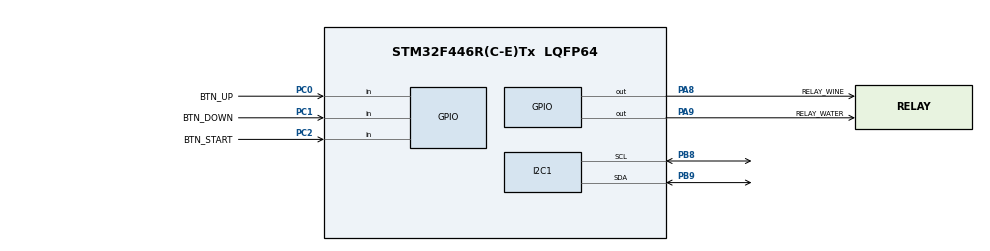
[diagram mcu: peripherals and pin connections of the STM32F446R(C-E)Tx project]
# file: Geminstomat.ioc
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Mcu.Family=STM32F4
Mcu.Name=STM32F446R(C-E)Tx
Mcu.Package=LQFP64
NVIC.PriorityGroup=NVIC_PRIORITYGROUP_4
NVIC.TIM2_IRQn=true\:0\:0\:false\:false\:true\:true\:true\:true
PA13.Mode=Serial_Wire
PA13.Signal=SYS_JTMS-SWDIO
PA14.Mode=Serial_Wire
PA14.Signal=SYS_JTCK-SWCLK
PA8.GPIO_Label=RELAY_WINE
PA8.Signal=GPIO_Output
PA9.GPIO_Label=RELAY_WATER
PA9.Signal=GPIO_Output
PB8.Mode=I2C
PB8.Signal=I2C1_SCL
PB9.Mode=I2C
PB9.Signal=I2C1_SDA
PC0.GPIO_Label=BTN_UP
PC0.GPIO_PuPd=GPIO_PULLUP
PC0.Signal=GPIO_Input
PC1.GPIO_Label=BTN_DOWN
PC1.GPIO_PuPd=GPIO_PULLUP
PC1.Signal=GPIO_Input
PC2.GPIO_Label=BTN_START
PC2.GPIO_PuPd=GPIO_PULLUP
PC2.Signal=GPIO_Input
PH0-OSC_IN.Mode=HSE-External-Oscillator
PH0-OSC_IN.Signal=RCC_OSC_IN
PH1-OSC_OUT.Mode=HSE-External-Oscillator
PH1-OSC_OUT.Signal=RCC_OSC_OUT
ProjectManager.HeapSize=0x200
ProjectManager.StackSize=0x400
ProjectManager.TargetToolchain=STM32CubeIDE
RCC.CortexFreq_Value=16000000
RCC.USBFreq_Value=96000000
RCC.VCOOutputFreq_Value=192000000
TIM2.AutoReloadPreload=TIM_AUTORELOAD_PRELOAD_ENABLE
TIM2.Period=99
TIM2.Prescaler=1599
VP_TIM2_VS_ClockSourceINT.Mode=Internal
board=custom

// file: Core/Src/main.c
/* USER CODE BEGIN Header */
/**
  ******************************************************************************
  * @file           : main.c
  * @brief          : Main program body
  ******************************************************************************
  * @attention
  *
  * Copyright (c) 2026 STMicroelectronics.
  * All rights reserved.
  *
  * This software is licensed under terms that can be found in the LICENSE file
  * in the root directory of this software component.
  * If no LICENSE file comes with this software, it is provided AS-IS.
  *
  ******************************************************************************
  */
/* USER CODE END Header */
#include "main.h"
#include "i2c.h"
#include "tim.h"
#include "gpio.h"

/* USER CODE BEGIN Includes */
#include "liquidcrystal_i2c.h"
#include <stdio.h>
/* USER CODE END Includes */

/* USER CODE BEGIN PTD */
typedef enum {
  DRINK_SKROPEC = 0,
  DRINK_SPORTSKI,
  DRINK_POLA_POLA,
  DRINK_COUNT
} drink_t;

typedef enum {
  ST_IDLE = 0,
  ST_RUN_WINE,
  ST_RUN_WATER,
  ST_DONE
} system_state_t;
/* USER CODE END PTD */

/* USER CODE BEGIN PD */
// Tipke
#define BTN_SELECT_PORT GPIOC
#define BTN_SELECT_PIN  GPIO_PIN_0

#define BTN_START_PORT  GPIOC
#define BTN_START_PIN   GPIO_PIN_1

// Debounce
#define DEBOUNCE_TICKS  20
/* USER CODE END PD */

/* USER CODE BEGIN PV */
volatile uint32_t g_tick10ms = 0;
volatile uint32_t g_seconds = 0;

system_state_t state = ST_IDLE;

// Ukupni volumen (ml)
uint16_t total_ml = 200;

// Izračunatee količine (ml)
uint16_t target_wine_ml = 0;
uint16_t target_water_ml = 0;

// Protok pumpe
float flow_wine_ml_s  = 16.0f;
float flow_water_ml_s = 16.0f;

volatile uint32_t phase_ticks_left = 0;

// Izbor vrste gemišta
drink_t selected_drink = DRINK_SKROPEC;
uint8_t wine_percent = 20;
uint8_t water_percent = 80;

// START zahtjev
uint8_t start_request = 0;
/* USER CODE END PV */

void SystemClock_Config(void);
/* USER CODE BEGIN PFP */
static inline uint8_t BTN_SELECT_Pressed(void);
static inline uint8_t BTN_START_Pressed(void);
static void update_drink_ratio(void);
static void lcd_show_menu(void);
/* USER CODE END PFP */

/* USER CODE BEGIN 0 */
static inline uint8_t BTN_SELECT_Pressed(void)
{
  return (HAL_GPIO_ReadPin(BTN_SELECT_PORT, BTN_SELECT_PIN) == GPIO_PIN_RESET);
}

static inline uint8_t BTN_START_Pressed(void)
{
  return (HAL_GPIO_ReadPin(BTN_START_PORT, BTN_START_PIN) == GPIO_PIN_RESET);
}

static void update_drink_ratio(void)
{
  switch (selected_drink)
  {
    case DRINK_SKROPEC:
      wine_percent = 20; water_percent = 80;
      break;
    case DRINK_SPORTSKI:
      wine_percent = 30; water_percent = 70;
      break;
    case DRINK_POLA_POLA:
      wine_percent = 50; water_percent = 50;
      break;
    default:
      wine_percent = 30; water_percent = 70;
      break;
  }
}

static void lcd_show_menu(void)
{
  // Prikaz: "Odabir:" + naziv opcije
  HD44780_SetCursor(0,0);
  HD44780_PrintStr("Odabir:        ");

  HD44780_SetCursor(0,1);
  HD44780_PrintStr("> ");

  switch (selected_drink)
  {
    case DRINK_SKROPEC:
      HD44780_PrintStr("Skropec     ");
      break;
    case DRINK_SPORTSKI:
      HD44780_PrintStr("Sportski    ");
      break;
    case DRINK_POLA_POLA:
      HD44780_PrintStr("Pola-pola   ");
      break;
    default:
      HD44780_PrintStr("???         ");
      break;
  }
}

// PUMP / RELAY CONTROL
static inline void PUMP_WINE_ON(void)   { HAL_GPIO_WritePin(GPIOA, GPIO_PIN_8, GPIO_PIN_SET);   }
static inline void PUMP_WINE_OFF(void)  { HAL_GPIO_WritePin(GPIOA, GPIO_PIN_8, GPIO_PIN_RESET); }
static inline void PUMP_WATER_ON(void)  { HAL_GPIO_WritePin(GPIOA, GPIO_PIN_9, GPIO_PIN_SET);   }
static inline void PUMP_WATER_OFF(void) { HAL_GPIO_WritePin(GPIOA, GPIO_PIN_9, GPIO_PIN_RESET); }

static uint32_t seconds_to_ticks(float sec)
{
  if (sec <= 0.0f) return 0;
  float ticks_f = sec * 100.0f; // 100 tickova = 1s
  if (ticks_f < 1.0f) ticks_f = 1.0f;
  return (uint32_t)(ticks_f + 0.5f);
}

static void compute_targets(void)
{
  target_wine_ml  = (uint16_t)((total_ml * wine_percent) / 100);
  target_water_ml = (uint16_t)(total_ml - target_wine_ml);
}

static void stop_all(void)
{
  PUMP_WINE_OFF();
  PUMP_WATER_OFF();
  phase_ticks_left = 0;
  state = ST_IDLE;
  start_request = 0;
}

static void start_cycle(void)
{
  compute_targets();

  float wine_s = (flow_wine_ml_s > 0.01f) ? ((float)target_wine_ml / flow_wine_ml_s) : 0.0f;

  phase_ticks_left = seconds_to_ticks(wine_s);

  PUMP_WATER_OFF();
  PUMP_WINE_ON();
  state = ST_RUN_WINE;

  start_request = 0;
}

/* USER CODE END 0 */

int main(void)
{
  HAL_Init();

  /* Configure the system clock */
  SystemClock_Config();

  /* USER CODE BEGIN SysInit */
  SystemCoreClockUpdate();
  /* USER CODE END SysInit */

  MX_GPIO_Init();
  MX_I2C1_Init();
  MX_TIM2_Init();

  /* USER CODE BEGIN 2 */

  update_drink_ratio();

  // LCD init
  //HAL_Delay(50);
  HD44780_Init(2);
  HD44780_Clear();
  PUMP_WINE_OFF();
  PUMP_WATER_OFF();

  // Početni prikaz
  lcd_show_menu();

  // Timer start (nakon LCD init-a)
  HAL_TIM_Base_Start_IT(&htim2);
  /* USER CODE END 2 */

  /* Infinite loop */
  while (1)
  {
    /* USER CODE BEGIN 3 */
    // Debounce
    static uint32_t last_btn_time = 0;
    static uint8_t sel_prev = 0;
    static uint8_t start_prev = 0;

    uint8_t sel_now = BTN_SELECT_Pressed();
    uint8_t start_now = BTN_START_Pressed();

    if ((g_tick10ms - last_btn_time) >= DEBOUNCE_TICKS)
    {
    	if (sel_now && !sel_prev)
    	{
    	  last_btn_time = g_tick10ms;

    	  if (state == ST_IDLE)
    	  {
    	    selected_drink = (drink_t)((selected_drink + 1) % DRINK_COUNT);
    	    update_drink_ratio();
    	    lcd_show_menu();
    	  }
    	}

    	if (start_now && !start_prev)
    	{
    	  last_btn_time = g_tick10ms;

    	  if (state == ST_IDLE)
    	  {
    	    start_request = 1;
    	  }
    	  else if (state == ST_DONE)
    	  {
    	    state = ST_IDLE;
    	    lcd_show_menu();
    	  }
    	  else
    	  {

    	    stop_all();
    	    lcd_show_menu();
    	  }
    	}
    }

    sel_prev = sel_now;
    start_prev = start_now;

    if (start_request && state == ST_IDLE)
    {
      start_cycle();
    }

    char line[17];

    if (state == ST_IDLE)
    {

    }
    else if (state == ST_RUN_WINE)
    {
      HD44780_SetCursor(0,0);
      HD44780_PrintStr("Tocim VINO     ");

      HD44780_SetCursor(0,1);
      snprintf(line, sizeof(line), "%3uml %3lus    ",
               target_wine_ml, (unsigned long)(phase_ticks_left/100));
      HD44780_PrintStr(line);
    }
    else if (state == ST_RUN_WATER)
    {
      HD44780_SetCursor(0,0);
      HD44780_PrintStr("Tocim VODU     ");

      HD44780_SetCursor(0,1);
      snprintf(line, sizeof(line), "%3uml %3lus    ",
               target_water_ml, (unsigned long)(phase_ticks_left/100));
      HD44780_PrintStr(line);
    }
    else if (state == ST_DONE)
    {
      HD44780_SetCursor(0,0);
      HD44780_PrintStr("Gotovo!        ");
      HD44780_SetCursor(0,1);
      HD44780_PrintStr("START=reset    ");
    }
    /* USER CODE END 3 */
  }
  /* USER CODE END 3 */
}

void SystemClock_Config(void)
{
  RCC_OscInitTypeDef RCC_OscInitStruct = {0};
  RCC_ClkInitTypeDef RCC_ClkInitStruct = {0};

  /** Configure the main internal regulator output voltage */
  __HAL_RCC_PWR_CLK_ENABLE();
  __HAL_PWR_VOLTAGESCALING_CONFIG(PWR_REGULATOR_VOLTAGE_SCALE3);

  /** Initializes the RCC Oscillators according to the specified parameters */
  RCC_OscInitStruct.OscillatorType = RCC_OSCILLATORTYPE_HSI;
  RCC_OscInitStruct.HSIState = RCC_HSI_ON;
  RCC_OscInitStruct.HSICalibrationValue =RCC_HSICALIBRATION_DEFAULT;
  RCC_OscInitStruct.PLL.PLLState = RCC_PLL_NONE;
  if (HAL_RCC_OscConfig(&RCC_OscInitStruct) != HAL_OK)
  {
    Error_Handler();
  }

  /** Initializes the CPU, AHB and APB buses clocks */
  RCC_ClkInitStruct.ClockType = RCC_CLOCKTYPE_HCLK|RCC_CLOCKTYPE_SYSCLK
                              |RCC_CLOCKTYPE_PCLK1|RCC_CLOCKTYPE_PCLK2;
  RCC_ClkInitStruct.SYSCLKSource = RCC_SYSCLKSOURCE_HSI;
  RCC_ClkInitStruct.AHBCLKDivider = RCC_SYSCLK_DIV1;
  RCC_ClkInitStruct.APB1CLKDivider = RCC_HCLK_DIV1;
  RCC_ClkInitStruct.APB2CLKDivider = RCC_HCLK_DIV1;

  if (HAL_RCC_ClockConfig(&RCC_ClkInitStruct, FLASH_LATENCY_0) != HAL_OK)
  {
    Error_Handler();
  }
}

/* USER CODE BEGIN 4 */
void HAL_TIM_PeriodElapsedCallback(TIM_HandleTypeDef *htim)
{
  if (htim->Instance == TIM2)
  {
    // 10ms tick
    g_tick10ms++;

    if (phase_ticks_left > 0)
    {
      phase_ticks_left--;

      if (phase_ticks_left == 0)
      {
        if (state == ST_RUN_WINE)
        {
          // Prebacivanje na vodu
          float water_s = (flow_water_ml_s > 0.01f) ? ((float)target_water_ml / flow_water_ml_s) : 0.0f;
          phase_ticks_left = seconds_to_ticks(water_s);

          PUMP_WINE_OFF();
          PUMP_WATER_ON();
          state = ST_RUN_WATER;
        }
        else if (state == ST_RUN_WATER)
        {
          PUMP_WATER_OFF();
          state = ST_DONE;
        }
      }
    }

    if ((g_tick10ms % 100U) == 0U)
    {
      g_seconds++;
    }
  }
}
/* USER CODE END 4 */

void Error_Handler(void)
{
  __disable_irq();
  while (1)
  {
  }
}
